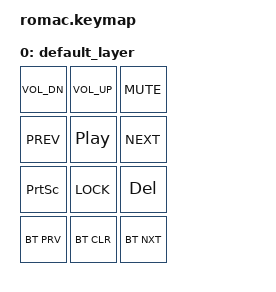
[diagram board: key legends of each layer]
/*
 * Copyright (c) 2020 The ZMK Contributors
 *
 * SPDX-License-Identifier: MIT
 */

#include <behaviors.dtsi>
#include <dt-bindings/zmk/keys.h>
#include <dt-bindings/zmk/bt.h>

/ {
    keymap {
        compatible = "zmk,keymap";

        default_layer {
// -------------------
// | 7      |  8  |  9  |
// | 4      |  5  |  6  |
// | 1      |  2  |  3  |
// | MO(1)  |  0  |  .  |
// ----------------------
            bindings = <
    &kp C_VOL_DN        &kp C_VOL_UP     &kp C_MUTE
    &kp C_PREV          &kp C_PP         &kp C_NEXT
    &kp PSCRN           &kp K_LOCK       &kp DEL
    &bt BT_PRV          &bt BT_CLR       &bt BT_NXT
            >;
        };
    };
};

